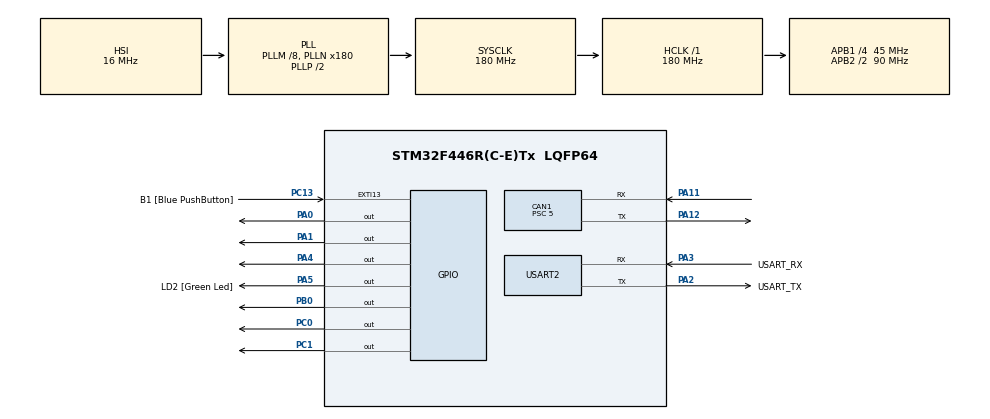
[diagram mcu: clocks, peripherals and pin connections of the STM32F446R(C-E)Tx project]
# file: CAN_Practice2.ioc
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CAN1.BS1=CAN_BS1_15TQ
CAN1.BS2=CAN_BS2_2TQ
CAN1.CalculateBaudRate=500000
CAN1.CalculateTimeBit=2000
CAN1.CalculateTimeQuantum=111.11111111111111
CAN1.NART=ENABLE
CAN1.Prescaler=5
FREERTOS.Queues01=EventQueue,8,uint8_t,0,Dynamic,NULL,NULL
FREERTOS.Tasks01=defaultTask,24,128,StartDefaultTask,Default,NULL,Dynamic,NULL,NULL;ConveyorTask,8,256,StartTask02,Default,NULL,Dynamic,NULL,NULL;EventTask,8,256,StartTask03,Default,NULL,Dynamic,NULL,NULL;MotorBTask,8,256,StartTask04,Default,NULL,Dynamic,NULL,NULL;MotorCTask,8,256,StartTask05,Default,NULL,Dynamic,NULL,NULL
FREERTOS.Timers01=TrashForwardTimer,TrashForwardTimerCallback,osTimerOnce,Default,NULL,Dynamic,NULL;TrashBackwardTimer,TrashBackwardTimerCallback,osTimerOnce,Default,NULL,Dynamic,NULL;CheckTimer,CheckTimerCallback,osTimerOnce,Default,NULL,Dynamic,NULL
Mcu.Family=STM32F4
Mcu.Name=STM32F446R(C-E)Tx
Mcu.Package=LQFP64
NVIC.CAN1_RX0_IRQn=true\:5\:0\:false\:false\:true\:true\:true\:true\:true
NVIC.PriorityGroup=NVIC_PRIORITYGROUP_4
PA0-WKUP.Signal=GPIO_Output
PA1.Signal=GPIO_Output
PA11.Mode=CAN_Activate
PA11.Signal=CAN1_RX
PA12.Mode=CAN_Activate
PA12.Signal=CAN1_TX
PA13.GPIO_Label=TMS
PA13.Mode=Serial_Wire
PA13.Signal=SYS_JTMS-SWDIO
PA14.GPIO_Label=TCK
PA14.Mode=Serial_Wire
PA14.Signal=SYS_JTCK-SWCLK
PA2.GPIO_Label=USART_TX
PA2.Mode=Asynchronous
PA2.Signal=USART2_TX
PA3.GPIO_Label=USART_RX
PA3.Mode=Asynchronous
PA3.Signal=USART2_RX
PA4.Signal=GPIO_Output
PA5.GPIO_Label=LD2 [Green Led]
PA5.Signal=GPIO_Output
PB0.Signal=GPIO_Output
PB3.GPIO_Label=SWO
PB3.Signal=SYS_JTDO-SWO
PC0.Signal=GPIO_Output
PC1.Signal=GPIO_Output
PC13.GPIO_Label=B1 [Blue PushButton]
PC13.GPIO_ModeDefaultEXTI=GPIO_MODE_IT_FALLING
PC13.Signal=GPXTI13
PC14-OSC32_IN.Mode=LSE-External-Oscillator
PC14-OSC32_IN.Signal=RCC_OSC32_IN
PC15-OSC32_OUT.Mode=LSE-External-Oscillator
PC15-OSC32_OUT.Signal=RCC_OSC32_OUT
PH0-OSC_IN.Mode=HSE-External-Oscillator
PH0-OSC_IN.Signal=RCC_OSC_IN
PH1-OSC_OUT.Mode=HSE-External-Oscillator
PH1-OSC_OUT.Signal=RCC_OSC_OUT
ProjectManager.HeapSize=0x200
ProjectManager.StackSize=0x400
ProjectManager.TargetToolchain=STM32CubeIDE
RCC.48MHZClocksFreq_Value=84000000
RCC.AHBFreq_Value=180000000
RCC.APB1CLKDivider=RCC_HCLK_DIV4
RCC.APB1Freq_Value=45000000
RCC.APB1TimFreq_Value=90000000
RCC.APB2CLKDivider=RCC_HCLK_DIV2
RCC.APB2Freq_Value=90000000
RCC.APB2TimFreq_Value=180000000
RCC.CortexFreq_Value=180000000
RCC.FLatency-AdvancedSettings=FLASH_LATENCY_5
RCC.HCLKFreq_Value=180000000
RCC.HSE_VALUE=8000000
RCC.HSI_VALUE=16000000
RCC.PLLM=8
RCC.PLLN=180
RCC.SYSCLKFreq_VALUE=180000000
RCC.SYSCLKSource=RCC_SYSCLKSOURCE_PLLCLK
RCC.USBFreq_Value=180000000
RCC.VCOOutputFreq_Value=360000000
USART2.VirtualMode=VM_ASYNC
VP_FREERTOS_VS_CMSIS_V2.Mode=CMSIS_V2
board=NUCLEO-F446RE

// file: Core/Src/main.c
/* USER CODE BEGIN Header */
/**
  ******************************************************************************
  * @file           : main.c
  * @brief          : Main program body - CAN Receiver Board
  ******************************************************************************
  * @attention
  *
  * Copyright (c) 2026 STMicroelectronics.
  * All rights reserved.
  *
  * This software is licensed under terms that can be found in the LICENSE file
  * in the root directory of this software component.
  * If no LICENSE file comes with this software, it is provided AS-IS.
  *
  ******************************************************************************
  */
/* USER CODE END Header */
#include "main.h"
#include "cmsis_os.h"
#include "can.h"
#include "usart.h"
#include "gpio.h"

/* USER CODE BEGIN PV */

CAN_RxHeaderTypeDef RxHeader;
uint8_t RxData[8];

/* USER CODE END PV */

void SystemClock_Config(void);
void MX_FREERTOS_Init(void);
/* USER CODE BEGIN PFP */

void CAN_Filter_Config(void);

/* USER CODE END PFP */

/* USER CODE BEGIN 0 */

void CAN_Filter_Config(void)
{
  CAN_FilterTypeDef canFilter;

  /*
   * 모든 CAN ID를 수신하는 필터 설정
   */
  canFilter.FilterBank = 0;
  canFilter.FilterMode = CAN_FILTERMODE_IDMASK;
  canFilter.FilterScale = CAN_FILTERSCALE_32BIT;

  canFilter.FilterIdHigh = 0x0000;
  canFilter.FilterIdLow = 0x0000;

  canFilter.FilterMaskIdHigh = 0x0000;
  canFilter.FilterMaskIdLow = 0x0000;

  canFilter.FilterFIFOAssignment = CAN_RX_FIFO0;
  canFilter.FilterActivation = ENABLE;

  /*
   * CAN1만 사용할 때 보통 14로 둔다.
   */
  canFilter.SlaveStartFilterBank = 14;

  if (HAL_CAN_ConfigFilter(&hcan1, &canFilter) != HAL_OK)
  {
    Error_Handler();
  }
}

/* USER CODE END 0 */

int main(void)
{

  /* MCU Configuration--------------------------------------------------------*/

  /* Reset of all peripherals, Initializes the Flash interface and the Systick. */
  HAL_Init();

  /* Configure the system clock */
  SystemClock_Config();

  /* Initialize all configured peripherals */
  MX_GPIO_Init();
  MX_USART2_UART_Init();
  MX_CAN1_Init();
  /* USER CODE BEGIN 2 */

  HAL_GPIO_TogglePin(GPIOC, GPIO_PIN_0);
  HAL_GPIO_TogglePin(GPIOC, GPIO_PIN_1);

  /*
   * CAN 수신 필터 설정
   */
  CAN_Filter_Config();

  /*
   * CAN 시작
   */
  if (HAL_CAN_Start(&hcan1) != HAL_OK)
  {
    Error_Handler();
  }

  /*
   * FIFO0 수신 인터럽트 활성화
   */
  if (HAL_CAN_ActivateNotification(&hcan1, CAN_IT_RX_FIFO0_MSG_PENDING) != HAL_OK)
  {
    Error_Handler();
  }

  /* USER CODE END 2 */

  /* Init scheduler */
  osKernelInitialize();  /* Call init function for freertos objects (in cmsis_os2.c) */
  MX_FREERTOS_Init();

  /* Start scheduler */
  osKernelStart();

  /* We should never get here as control is now taken by the scheduler */

  /* Infinite loop */
  while (1)
  {

    /* USER CODE BEGIN 3 */

    /*
     * FreeRTOS 사용 중에는 여기까지 오지 않는다.
     * 수신은 인터럽트 콜백에서 처리한다.
     */

  }
  /* USER CODE END 3 */
}

void SystemClock_Config(void)
{
  RCC_OscInitTypeDef RCC_OscInitStruct = {0};
  RCC_ClkInitTypeDef RCC_ClkInitStruct = {0};

  /** Configure the main internal regulator output voltage
  */
  __HAL_RCC_PWR_CLK_ENABLE();
  __HAL_PWR_VOLTAGESCALING_CONFIG(PWR_REGULATOR_VOLTAGE_SCALE1);

  /** Initializes the RCC Oscillators according to the specified parameters
  * in the RCC_OscInitTypeDef structure.
  */
  RCC_OscInitStruct.OscillatorType = RCC_OSCILLATORTYPE_HSI;
  RCC_OscInitStruct.HSIState = RCC_HSI_ON;
  RCC_OscInitStruct.HSICalibrationValue = RCC_HSICALIBRATION_DEFAULT;
  RCC_OscInitStruct.PLL.PLLState = RCC_PLL_ON;
  RCC_OscInitStruct.PLL.PLLSource = RCC_PLLSOURCE_HSI;
  RCC_OscInitStruct.PLL.PLLM = 8;
  RCC_OscInitStruct.PLL.PLLN = 180;
  RCC_OscInitStruct.PLL.PLLP = RCC_PLLP_DIV2;
  RCC_OscInitStruct.PLL.PLLQ = 2;
  RCC_OscInitStruct.PLL.PLLR = 2;
  if (HAL_RCC_OscConfig(&RCC_OscInitStruct) != HAL_OK)
  {
    Error_Handler();
  }

  /** Activate the Over-Drive mode
  */
  if (HAL_PWREx_EnableOverDrive() != HAL_OK)
  {
    Error_Handler();
  }

  /** Initializes the CPU, AHB and APB buses clocks
  */
  RCC_ClkInitStruct.ClockType = RCC_CLOCKTYPE_HCLK|RCC_CLOCKTYPE_SYSCLK
                              |RCC_CLOCKTYPE_PCLK1|RCC_CLOCKTYPE_PCLK2;
  RCC_ClkInitStruct.SYSCLKSource = RCC_SYSCLKSOURCE_PLLCLK;
  RCC_ClkInitStruct.AHBCLKDivider = RCC_SYSCLK_DIV1;
  RCC_ClkInitStruct.APB1CLKDivider = RCC_HCLK_DIV4;
  RCC_ClkInitStruct.APB2CLKDivider = RCC_HCLK_DIV2;

  if (HAL_RCC_ClockConfig(&RCC_ClkInitStruct, FLASH_LATENCY_5) != HAL_OK)
  {
    Error_Handler();
  }
}

/* USER CODE BEGIN 4 */

void HAL_CAN_RxFifo0MsgPendingCallback(CAN_HandleTypeDef *hcan)
{
  if (hcan->Instance == CAN1)
  {
    /*
     * FIFO0에서 수신 메시지 읽기
     */
    if (HAL_CAN_GetRxMessage(hcan, CAN_RX_FIFO0, &RxHeader, RxData) != HAL_OK)
    {
      Error_Handler();
    }

    if (RxHeader.StdId == 0x101)
    {
      /*
       * PA0 버튼을 눌렀을 때의 동작
       */
      HAL_GPIO_TogglePin(GPIOA, GPIO_PIN_5);
    }
    else if (RxHeader.StdId == 0x102)
    {
      /*
       * PA1 버튼을 눌렀을 때의 동작
       */
      HAL_GPIO_TogglePin(GPIOC, GPIO_PIN_0);
      HAL_GPIO_TogglePin(GPIOC, GPIO_PIN_1);
    }
  }
}

/* USER CODE END 4 */

void Error_Handler(void)
{
  /* USER CODE BEGIN Error_Handler_Debug */
  __disable_irq();

  while (1)
  {
    /*
     * 에러 발생 시 LD2 빠르게 깜빡임
     */
    HAL_GPIO_TogglePin(GPIOA, GPIO_PIN_5);
    HAL_Delay(100);
  }
  /* USER CODE END Error_Handler_Debug */
}
